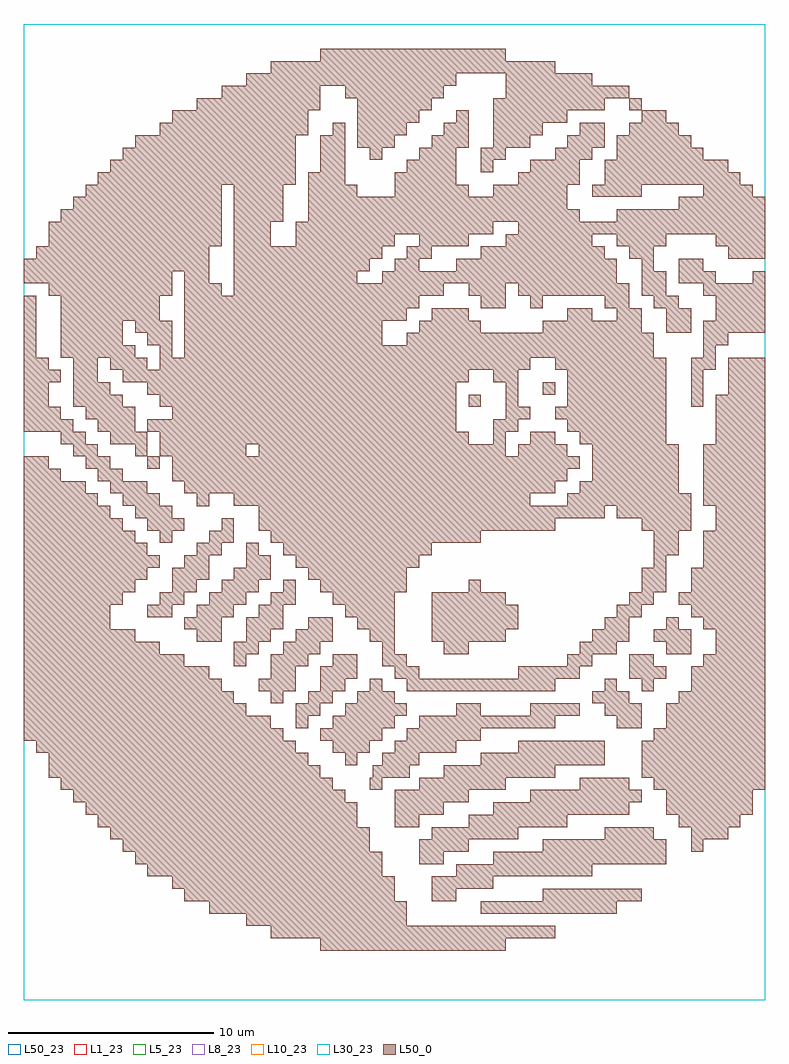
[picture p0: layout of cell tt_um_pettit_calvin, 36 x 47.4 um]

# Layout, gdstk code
import gdstk
lib = gdstk.Library(unit=1e-6, precision=1e-09)
def R(c, l, rs):  # rectangles x0, y0, x1, y1
    for r in rs: c.add(gdstk.rectangle(r[:2], r[2:], *l))
def A(c, l, x, y, w, h, nx, ny, dx, dy):  # array of equal rectangles
    R(c, l, [(x+i*dx, y+j*dy, x+i*dx+w, y+j*dy+h) for i in range(nx) for j in range(ny)])
L1_23 = (1, 23)
L5_23 = (5, 23)
L8_23 = (8, 23)
L10_23 = (10, 23)
L30_23 = (30, 23)
L50_0 = (50, 0)
L50_23 = (50, 23)

tt_um_pettit_calvin = lib.new_cell('tt_um_pettit_calvin')
R(tt_um_pettit_calvin, L1_23, [(0,0,36,47.4)])
R(tt_um_pettit_calvin, L5_23, [(0,0,36,47.4)])
R(tt_um_pettit_calvin, L8_23, [(0,0,36,47.4)])
R(tt_um_pettit_calvin, L10_23, [(0,0,36,47.4)])
R(tt_um_pettit_calvin, L30_23, [(0,0,36,47.4)])
A(tt_um_pettit_calvin, L50_0, 30, 10.8, 6, 0.6, 1, 3, 0, 0.6)
A(tt_um_pettit_calvin, L50_0, 0, 17.4, 5.4, 0.6, 1, 3, 0, 2.4)
A(tt_um_pettit_calvin, L50_0, 33, 21, 3, 0.6, 1, 3, 0, 0.6)
A(tt_um_pettit_calvin, L50_0, 33, 24, 3, 0.6, 1, 5, 0, 0.6)
A(tt_um_pettit_calvin, L50_0, 27.6, 25.2, 4.2, 0.6, 1, 3, 0, 0.6)
A(tt_um_pettit_calvin, L50_0, 4.2, 27, 0.6, 0.6, 3, 1, 0.6, 0)
A(tt_um_pettit_calvin, L50_0, 33.6, 27, 2.4, 0.6, 1, 4, 0, 0.6)
A(tt_um_pettit_calvin, L50_0, 26.4, 28.8, 4.8, 0.6, 1, 3, 0, 0.6)
A(tt_um_pettit_calvin, L50_0, 32.4, 28.8, 0.6, 0.6, 1, 3, 0, 0.6)
A(tt_um_pettit_calvin, L50_0, 34.2, 29.4, 1.8, 0.6, 1, 3, 0, 0.6)
A(tt_um_pettit_calvin, L50_0, 0, 31.2, 0.6, 0.6, 1, 5, 0, 0.6)
A(tt_um_pettit_calvin, L50_0, 26.4, 33, 1.2, 0.6, 3, 1, 2.4, 0)
A(tt_um_pettit_calvin, L50_0, 10.2, 37.8, 2.4, 0.6, 1, 3, 0, 0.6)
A(tt_um_pettit_calvin, L50_0, 14.4, 40.2, 1.2, 0.6, 1, 3, 0, 0.6)
A(tt_um_pettit_calvin, L50_0, 16.2, 42, 2.4, 0.6, 3, 1, 6.6, 0)
R(tt_um_pettit_calvin, L50_0, [(14.4,2.4,23.4,3), (12,3,25.8,3.6), (10.8,3.6,18.6,4.2), (9,4.2,18.6,4.8), (22.2,4.2,28.8,4.8), (7.8,4.8,18,5.4), (19.8,4.8,21,5.4), (25.2,4.8,30,5.4), (7.2,5.4,18,6), (19.8,5.4,22.8,6), (6,6,17.4,6.6), (21,6,27.6,6.6), (5.4,6.6,17.4,7.2), (19.2,6.6,20.4,7.2), (22.8,6.6,31.2,7.2), (4.8,7.2,16.8,7.8), (19.2,7.2,21.6,7.8), (25.2,7.2,31.2,7.8), (32.4,7.2,33,7.8), (4.2,7.8,16.8,8.4), (19.8,7.8,24,8.4), (28.2,7.8,30.6,8.4), (32.4,7.8,34.2,8.4), (3.6,8.4,16.2,9), (18,8.4,19.2,9), (21.6,8.4,26.4,9), (31.8,8.4,34.8,9), (3,9,16.2,9.6), (18,9,20.4,9.6), (22.8,9,29.4,9.6), (31.2,9,35.4,9.6), (2.4,9.6,15.6,10.2), (18,9.6,21.6,10.2), (24.6,9.6,30,10.2), (31.2,9.6,35.4,10.2), (1.8,10.2,15,10.8), (16.8,10.2,17.4,10.8), (19.2,10.2,23.4,10.8), (27,10.2,29.4,10.8), (30.6,10.2,36,10.8), (1.2,10.8,14.4,11.4), (16.95,10.8,18.75,11.4), (20.4,10.8,25.8,11.4), (1.2,11.4,13.8,12), (15.6,11.4,16.2,12), (17.4,11.4,19.2,12), (22.2,11.4,28.2,12), (0.6,12,13.2,12.6), (15,12,16.8,12.6), (18,12,21,12.6), (24,12,28.2,12.6), (0,12.6,12.6,13.2), (14.4,12.6,17.4,13.2), (18.6,12.6,22.2,13.2), (30.6,12.6,36,13.2), (0,13.2,12,13.8), (13.2,13.2,13.8,13.8), (15,13.2,16.2,13.8), (16.2,13.2,18,13.8), (19.2,13.2,21,13.8), (21,13.2,25.8,13.8), (28.8,13.2,30,13.8), (31.2,13.2,36,13.8), (0,13.8,10.8,14.4), (13.2,13.8,14.4,14.4), (15.6,13.8,18.6,14.4), (21,13.8,22.2,14.4), (24.6,13.8,27,14.4), (28.2,13.8,30,14.4), (31.2,13.8,36,14.4), (0,14.4,10.2,15), (12,14.4,12.6,15), (13.8,14.4,15,15), (16.2,14.4,18,15), (27.6,14.4,29.4,15), (31.8,14.4,36,15), (0,15,9.6,15.6), (11.4,15,13.2,15.6), (14.4,15,15.6,15.6), (16.8,15,17.4,15.6), (18.6,15,25.8,15.6), (28.2,15,28.8,15.6), (30,15,30.6,15.6), (32.4,15,36,15.6), (0,15.6,9,16.2), (12,15.6,13.2,16.2), (14.4,15.6,16.2,16.2), (18,15.6,19.2,16.2), (24,15.6,27,16.2), (29.4,15.6,31.2,16.2), (32.4,15.6,36,16.2), (0,16.2,7.8,16.8), (10.2,16.2,10.8,16.8), (12,16.2,13.8,16.8), (15,16.2,16.2,16.8), (17.4,16.2,18.6,16.8), (26.4,16.2,27.6,16.8), (29.4,16.2,30.6,16.8), (33,16.2,36,16.8), (0,16.8,6.6,17.4), (10.2,16.8,11.4,17.4), (12.6,16.8,14.4,17.4), (17.4,16.8,18,17.4), (20.4,16.8,21.6,17.4), (27,16.8,28.8,17.4), (31.2,16.8,32.4,17.4), (33.6,16.8,36,17.4), (8.4,17.4,9.6,18), (10.8,17.4,12,18), (13.2,17.4,15,18), (16.8,17.4,18,18), (19.8,17.4,23.4,18), (27.6,17.4,29.4,18), (30.6,17.4,32.4,18), (33.6,17.4,36,18), (0,18,4.2,18.6), (7.8,18,9.6,18.6), (10.8,18,12.6,18.6), (13.8,18,15,18.6), (16.2,18,18,18.6), (19.8,18,24,18.6), (28.2,18,29.4,18.6), (31.2,18,31.8,18.6), (33,18,36,18.6), (0,18.6,4.2,19.2), (6,18.6,7.2,19.2), (8.4,18.6,10.2,19.2), (11.4,18.6,12.6,19.2), (15.6,18.6,18,19.2), (19.8,18.6,24,19.2), (28.8,18.6,30,19.2), (32.4,18.6,36,19.2), (0,19.2,4.8,19.8), (6.6,19.2,7.8,19.8), (9,19.2,10.8,19.8), (12,19.2,13.2,19.8), (15,19.2,18,19.8), (19.8,19.2,23.4,19.8), (29.4,19.2,30.6,19.8), (31.8,19.2,36,19.8), (7.2,19.8,8.4,20.4), (9.6,19.8,11.4,20.4), (12.6,19.8,13.2,20.4), (14.4,19.8,18.6,20.4), (21.6,19.8,22.2,20.4), (30,19.8,31.2,20.4), (32.4,19.8,36,20.4), (0,20.4,6,21), (7.2,20.4,9,21), (10.2,20.4,12,21), (13.8,20.4,18.6,21), (30,20.4,31.2,21), (32.4,20.4,36,21), (0,21,6.6,21.6), (7.8,21,9,21.6), (10.8,21,12,21.6), (13.2,21,19.2,21.6), (30.6,21,31.2,21.6), (0,21.6,6,22.2), (8.4,21.6,9.6,22.2), (10.8,21.6,11.4,22.2), (12.6,21.6,19.8,22.2), (30.6,21.6,31.8,22.2), (6.6,22.2,7.2,22.8), (9,22.2,10.2,22.8), (12,22.2,22.2,22.8), (30.6,22.2,31.8,22.8), (0,22.8,4.8,23.4), (6,22.8,7.8,23.4), (9.6,22.8,10.2,23.4), (11.4,22.8,25.8,23.4), (30,22.8,32.4,23.4), (33.6,22.8,36,23.4), (0,23.4,4.2,24), (5.4,23.4,7.2,24), (11.4,23.4,28.2,24), (28.8,23.4,32.4,24), (33.6,23.4,36,24), (8.4,23.975,9,24.575), (0,24,3.6,24.6), (4.8,24,6.6,24.6), (10.2,24,24.6,24.6), (26.4,24,32.4,24.6), (0,24.6,3,25.2), (4.2,24.6,6,25.2), (7.8,24.6,8.4,25.2), (8.4,24.6,9.6,25.2), (9.6,24.6,25.8,25.2), (27,24.6,31.8,25.2), (0,25.2,1.8,25.8), (3.6,25.2,4.8,25.8), (7.2,25.2,7.8,25.8), (7.8,25.2,9,25.8), (9,25.2,26.4,25.8), (0,25.8,1.2,26.4), (3,25.8,4.2,26.4), (6,25.8,6.6,26.4), (7.2,25.8,7.8,26.4), (7.8,25.8,8.4,26.4), (8.4,25.8,27,26.4), (2.4,26.4,3.6,27), (5.4,26.4,6,27), (6.6,26.4,10.8,27), (11.4,26.4,23.4,27), (24,26.4,26.4,27), (1.8,27,3,27.6), (6.6,27,7.2,27.6), (7.2,27,7.8,27.6), (7.8,27,21.6,27.6), (22.8,27,23.4,27.6), (24.6,27,25.8,27.6), (27,27,31.2,27.6), (0,27.6,2.4,28.2), (3.6,27.6,5.4,28.2), (6,27.6,21,28.2), (22.8,27.6,24,28.2), (26.4,27.6,31.2,28.2), (0,28.2,1.8,28.8), (3,28.2,5.4,28.8), (7.2,28.2,21,28.8), (23.4,28.2,24.6,28.8), (25.8,28.2,31.2,28.8), (0,28.8,1.2,29.4), (2.4,28.8,4.8,29.4), (6.6,28.8,21,29.4), (21.6,28.8,22.2,29.4), (23.4,28.8,24,29.4), (0,29.4,1.2,30), (2.4,29.4,4.2,30), (6,29.4,21,30), (23.4,29.4,24,30), (25.2,29.4,25.8,30), (0,30,1.8,30.6), (2.4,30,3.6,30.6), (4.8,30,21.6,30.6), (22.8,30,24,30.6), (0,30.6,1.2,31.2), (2.4,30.6,3.6,31.2), (4.2,30.6,6,31.2), (6.6,30.6,24.6,31.2), (25.8,30.6,31.2,31.2), (32.4,30.6,33.6,31.2), (1.8,31.2,5.4,31.8), (6.6,31.2,7.2,31.8), (7.8,31.2,30.6,31.8), (33,31.2,33.6,31.8), (1.8,31.8,4.8,32.4), (6,31.8,7.2,32.4), (7.8,31.8,17.4,32.4), (18.6,31.8,30.6,32.4), (33,31.8,34.2,32.4), (1.8,32.4,4.8,33), (5.4,32.4,7.2,33), (7.8,32.4,17.4,33), (19.2,32.4,22.2,33), (25.2,32.4,30,33), (31.2,32.4,32.4,33), (33,32.4,36,33), (1.8,33,6.6,33.6), (7.8,33,18.6,33.6), (19.8,33,21.6,33.6), (33.6,33,36,33.6), (1.8,33.6,6.6,34.2), (7.8,33.6,19.2,34.2), (22.2,33.6,23.4,34.2), (24.6,33.6,25.2,34.2), (28.2,33.6,29.4,34.2), (30.6,33.6,31.8,34.2), (33.6,33.6,36,34.2), (1.2,34.2,7.2,34.8), (7.8,34.2,9.6,34.8), (10.2,34.2,20.4,34.8), (21.6,34.2,23.4,34.8), (24,34.2,29.4,34.8), (30,34.2,31.2,34.8), (33,34.2,36,34.8), (0,34.8,7.2,35.4), (7.8,34.8,9,35.4), (10.2,34.8,16.2,35.4), (17.4,34.8,28.8,35.4), (30,34.8,31.2,35.4), (31.8,34.8,33.6,35.4), (35.4,34.8,36,35.4), (0,35.4,9,36), (10.2,35.4,16.8,36), (18,35.4,19.2,36), (21,35.4,28.8,36), (30,35.4,30.6,36), (31.8,35.4,33,36), (0.6,36,9,36.6), (10.2,36,17.4,36.6), (18.6,36,19.8,36.6), (22.2,36,28.2,36.6), (29.4,36,30.6,36.6), (34.2,36,36,36.6), (1.2,36.6,9.6,37.2), (10.2,36.6,12,37.2), (13.2,36.6,18,37.2), (19.2,36.6,21.6,37.2), (23.4,36.6,27.6,37.2), (28.8,36.6,31.2,37.2), (33.6,36.6,36,37.2), (1.2,37.2,9.6,37.8), (10.2,37.2,12,37.8), (13.2,37.2,22.8,37.8), (24,37.2,36,37.8), (1.8,37.8,9.6,38.4), (13.8,37.8,27,38.4), (28.8,37.8,36,38.4), (2.4,38.4,9.6,39), (13.8,38.4,26.4,39), (31.8,38.4,36,39), (3,39,9.6,39.6), (13.8,39,16.2,39.6), (18,39,21.6,39.6), (22.8,39,26.4,39.6), (27.6,39,30,39.6), (33,39,35.4,39.6), (3.6,39.6,13.2,40.2), (13.8,39.6,15.6,40.2), (18,39.6,21,40.2), (24,39.6,27,40.2), (28.2,39.6,34.8,40.2), (4.2,40.2,13.2,40.8), (18.6,40.2,21,40.8), (22.2,40.2,22.8,40.8), (24.6,40.2,27,40.8), (28.2,40.2,34.2,40.8), (4.8,40.8,13.2,41.4), (16.8,40.8,17.4,41.4), (19.2,40.8,21,41.4), (22.2,40.8,23.4,41.4), (25.8,40.8,27.6,41.4), (28.8,40.8,33,41.4), (5.4,41.4,13.2,42), (16.2,41.4,18,42), (19.8,41.4,21.6,42), (22.8,41.4,24.6,42), (26.4,41.4,28.2,42), (28.8,41.4,32.4,42), (6.6,42,13.8,42.6), (15,42,15.6,42.6), (20.4,42,21.6,42.6), (27,42,28.2,42.6), (7.2,42.6,13.8,43.2), (16.2,42.6,19.2,43.2), (21,42.6,21.6,43.2), (22.8,42.6,26.4,43.2), (30,42.6,30.6,43.2), (30.6,42.6,31.2,43.2), (8.4,43.2,14.4,43.8), (16.2,43.2,19.8,43.8), (22.8,43.2,28.2,43.8), (29.4,43.2,30,43.8), (9.6,43.8,14.4,44.4), (15.6,43.8,20.4,44.4), (23.4,43.8,28.8,44.4), (28.8,43.8,29.4,44.4), (10.8,44.4,21,45), (23.4,44.4,27.6,45), (12,45,25.8,45.6), (14.4,45.6,23.4,46.2)])
R(tt_um_pettit_calvin, L50_23, [(0,0,36,47.4)])

lib.write_gds('tt_um_pettit_calvin.gds')
